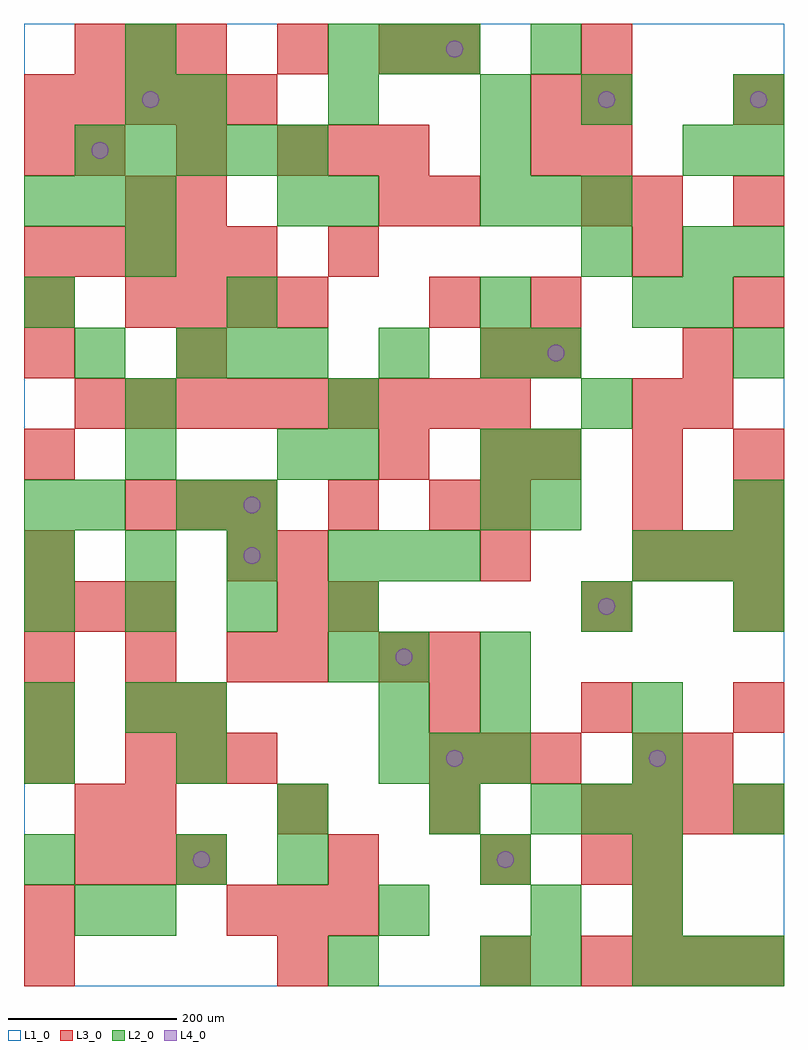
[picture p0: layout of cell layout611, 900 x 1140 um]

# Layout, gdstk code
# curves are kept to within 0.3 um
import gdstk
lib = gdstk.Library(unit=1e-6, precision=1e-09)
def R(c, l, rs):  # rectangles x0, y0, x1, y1
    for r in rs: c.add(gdstk.rectangle(r[:2], r[2:], *l))
def A(c, l, x, y, w, h, nx, ny, dx, dy):  # array of equal rectangles
    R(c, l, [(x+i*dx, y+j*dy, x+i*dx+w, y+j*dy+h) for i in range(nx) for j in range(ny)])
def P(c, l, *ps):  # polygons
    for p in ps: c.add(gdstk.Polygon(p, *l))
L1_0 = (1, 0)
L2_0 = (2, 0)
L3_0 = (3, 0)
L4_0 = (4, 0)

layout611 = lib.new_cell('layout611')
R(layout611, L1_0, [(0,0,900,1140)])
A(layout611, L2_0, 720, 0, 60, 60, 3, 2, 60, 480)
A(layout611, L2_0, 600, 180, 60, 60, 3, 1, 60, 0)
A(layout611, L2_0, 420, 240, 60, 60, 3, 1, 60, 0)
A(layout611, L2_0, 0, 300, 60, 60, 1, 3, 0, 240)
A(layout611, L2_0, 0, 420, 60, 60, 4, 2, 120, 60)
A(layout611, L2_0, 120, 660, 60, 60, 1, 3, 0, 180)
A(layout611, L2_0, 660, 660, 60, 60, 1, 3, 0, 180)
A(layout611, L2_0, 180, 720, 60, 60, 3, 1, 60, 0)
A(layout611, L2_0, 840, 720, 60, 60, 1, 3, 0, 120)
A(layout611, L2_0, 0, 900, 60, 60, 3, 1, 60, 0)
A(layout611, L2_0, 540, 900, 60, 60, 3, 1, 60, 0)
A(layout611, L2_0, 60, 960, 60, 60, 5, 1, 60, 0)
A(layout611, L2_0, 180, 1020, 60, 60, 3, 1, 180, 0)
A(layout611, L2_0, 360, 1080, 60, 60, 3, 1, 60, 0)
R(layout611, L2_0, [(360,0,420,60), (540,0,600,60), (600,0,660,60), (60,60,120,120), (120,60,180,120), (420,60,480,120), (600,60,660,120), (720,60,780,120), (0,120,60,180), (180,120,240,180), (300,120,360,180), (540,120,600,180), (720,120,780,180), (300,180,360,240), (480,180,540,240), (840,180,900,240), (0,240,60,300), (180,240,240,300), (720,240,780,300), (120,300,180,360), (180,300,240,360), (420,300,480,360), (540,300,600,360), (720,300,780,360), (360,360,420,420), (420,360,480,420), (540,360,600,420), (660,420,720,480), (840,420,900,480), (420,480,480,540), (480,480,540,540), (60,540,120,600), (180,540,240,600), (240,540,300,600), (540,540,600,600), (600,540,660,600), (840,540,900,600), (120,600,180,660), (300,600,360,660), (360,600,420,660), (540,600,600,660), (600,600,660,660), (360,660,420,720), (60,720,120,780), (420,720,480,780), (540,720,600,780), (600,720,660,780), (240,780,300,840), (540,780,600,840), (720,780,780,840), (780,780,840,840), (780,840,840,900), (300,900,360,960), (360,900,420,960), (540,960,600,1020), (780,960,840,1020), (840,1020,900,1080), (120,1080,180,1140), (600,1080,660,1140)])
A(layout611, L3_0, 660, 0, 60, 60, 4, 1, 60, 0)
A(layout611, L3_0, 240, 60, 60, 60, 3, 1, 60, 0)
A(layout611, L3_0, 60, 120, 60, 60, 3, 2, 60, 960)
A(layout611, L3_0, 120, 180, 60, 60, 4, 1, 180, 0)
A(layout611, L3_0, 720, 180, 60, 60, 3, 2, 60, 300)
A(layout611, L3_0, 120, 240, 60, 60, 3, 2, 60, 300)
A(layout611, L3_0, 480, 240, 60, 60, 3, 1, 60, 0)
A(layout611, L3_0, 480, 300, 60, 60, 3, 1, 180, 0)
A(layout611, L3_0, 0, 360, 60, 60, 3, 1, 120, 0)
A(layout611, L3_0, 300, 360, 60, 60, 1, 3, 0, 60)
A(layout611, L3_0, 0, 420, 60, 60, 3, 1, 60, 0)
A(layout611, L3_0, 0, 480, 60, 60, 1, 3, 0, 120)
A(layout611, L3_0, 540, 480, 60, 60, 1, 3, 0, 60)
A(layout611, L3_0, 600, 600, 60, 60, 3, 1, 120, 0)
A(layout611, L3_0, 60, 660, 60, 60, 9, 1, 60, 0)
A(layout611, L3_0, 120, 780, 60, 60, 4, 1, 60, 0)
A(layout611, L3_0, 840, 780, 60, 60, 1, 3, 0, 120)
A(layout611, L3_0, 0, 840, 60, 60, 5, 2, 60, 180)
A(layout611, L3_0, 660, 900, 60, 60, 1, 4, 0, 60)
A(layout611, L3_0, 60, 960, 60, 60, 3, 1, 120, 0)
R(layout611, L3_0, [(0,0,60,60), (300,0,360,60), (540,0,600,60), (0,60,60,120), (720,60,780,120), (360,120,420,180), (540,120,600,180), (660,120,720,180), (720,120,780,180), (60,180,120,240), (0,240,60,300), (720,240,780,300), (780,240,840,300), (0,300,60,360), (120,300,180,360), (180,300,240,360), (420,360,480,420), (480,360,540,420), (360,420,420,480), (660,420,720,480), (840,420,900,480), (240,480,300,540), (360,540,420,600), (480,540,540,600), (720,540,780,600), (840,540,900,600), (420,600,480,660), (720,660,780,720), (780,660,840,720), (180,720,240,780), (540,720,600,780), (600,720,660,780), (780,720,840,780), (0,780,60,840), (480,780,540,840), (600,780,660,840), (360,840,420,900), (720,840,780,900), (120,900,180,960), (180,900,240,960), (420,900,480,960), (480,900,540,960), (720,900,780,960), (0,960,60,1020), (360,960,420,1020), (420,960,480,1020), (600,960,660,1020), (600,1020,660,1080), (300,1080,360,1140), (420,1080,480,1140), (480,1080,540,1140)])
P(layout611, L4_0, [(100,990),(99.239,993.827),(97.071,997.071),(93.827,999.239),(90,1000),(86.173,999.239),(82.929,997.071),(80.761,993.827),(80,990),(80.761,986.173),(82.929,982.929),(86.173,980.761),(90,980),(93.827,980.761),(97.071,982.929),(99.239,986.173)],
  [(160,1050),(159.239,1053.827),(157.071,1057.071),(153.827,1059.239),(150,1060),(146.173,1059.239),(142.929,1057.071),(140.761,1053.827),(140,1050),(140.761,1046.173),(142.929,1042.929),(146.173,1040.761),(150,1040),(153.827,1040.761),(157.071,1042.929),(159.239,1046.173)],
  [(220,150),(219.239,153.827),(217.071,157.071),(213.827,159.239),(210,160),(206.173,159.239),(202.929,157.071),(200.761,153.827),(200,150),(200.761,146.173),(202.929,142.929),(206.173,140.761),(210,140),(213.827,140.761),(217.071,142.929),(219.239,146.173)],
  [(280,510),(279.239,513.827),(277.071,517.071),(273.827,519.239),(270,520),(266.173,519.239),(262.929,517.071),(260.761,513.827),(260,510),(260.761,506.173),(262.929,502.929),(266.173,500.761),(270,500),(273.827,500.761),(277.071,502.929),(279.239,506.173)],
  [(280,570),(279.239,573.827),(277.071,577.071),(273.827,579.239),(270,580),(266.173,579.239),(262.929,577.071),(260.761,573.827),(260,570),(260.761,566.173),(262.929,562.929),(266.173,560.761),(270,560),(273.827,560.761),(277.071,562.929),(279.239,566.173)],
  [(460,390),(459.239,393.827),(457.071,397.071),(453.827,399.239),(450,400),(446.173,399.239),(442.929,397.071),(440.761,393.827),(440,390),(440.761,386.173),(442.929,382.929),(446.173,380.761),(450,380),(453.827,380.761),(457.071,382.929),(459.239,386.173)],
  [(520,270),(519.239,273.827),(517.071,277.071),(513.827,279.239),(510,280),(506.173,279.239),(502.929,277.071),(500.761,273.827),(500,270),(500.761,266.173),(502.929,262.929),(506.173,260.761),(510,260),(513.827,260.761),(517.071,262.929),(519.239,266.173)],
  [(520,1110),(519.239,1113.827),(517.071,1117.071),(513.827,1119.239),(510,1120),(506.173,1119.239),(502.929,1117.071),(500.761,1113.827),(500,1110),(500.761,1106.173),(502.929,1102.929),(506.173,1100.761),(510,1100),(513.827,1100.761),(517.071,1102.929),(519.239,1106.173)],
  [(580,150),(579.239,153.827),(577.071,157.071),(573.827,159.239),(570,160),(566.173,159.239),(562.929,157.071),(560.761,153.827),(560,150),(560.761,146.173),(562.929,142.929),(566.173,140.761),(570,140),(573.827,140.761),(577.071,142.929),(579.239,146.173)],
  [(640,750),(639.239,753.827),(637.071,757.071),(633.827,759.239),(630,760),(626.173,759.239),(622.929,757.071),(620.761,753.827),(620,750),(620.761,746.173),(622.929,742.929),(626.173,740.761),(630,740),(633.827,740.761),(637.071,742.929),(639.239,746.173)],
  [(700,450),(699.239,453.827),(697.071,457.071),(693.827,459.239),(690,460),(686.173,459.239),(682.929,457.071),(680.761,453.827),(680,450),(680.761,446.173),(682.929,442.929),(686.173,440.761),(690,440),(693.827,440.761),(697.071,442.929),(699.239,446.173)],
  [(700,1050),(699.239,1053.827),(697.071,1057.071),(693.827,1059.239),(690,1060),(686.173,1059.239),(682.929,1057.071),(680.761,1053.827),(680,1050),(680.761,1046.173),(682.929,1042.929),(686.173,1040.761),(690,1040),(693.827,1040.761),(697.071,1042.929),(699.239,1046.173)],
  [(760,270),(759.239,273.827),(757.071,277.071),(753.827,279.239),(750,280),(746.173,279.239),(742.929,277.071),(740.761,273.827),(740,270),(740.761,266.173),(742.929,262.929),(746.173,260.761),(750,260),(753.827,260.761),(757.071,262.929),(759.239,266.173)],
  [(880,1050),(879.239,1053.827),(877.071,1057.071),(873.827,1059.239),(870,1060),(866.173,1059.239),(862.929,1057.071),(860.761,1053.827),(860,1050),(860.761,1046.173),(862.929,1042.929),(866.173,1040.761),(870,1040),(873.827,1040.761),(877.071,1042.929),(879.239,1046.173)])

lib.write_gds('layout611.gds')
